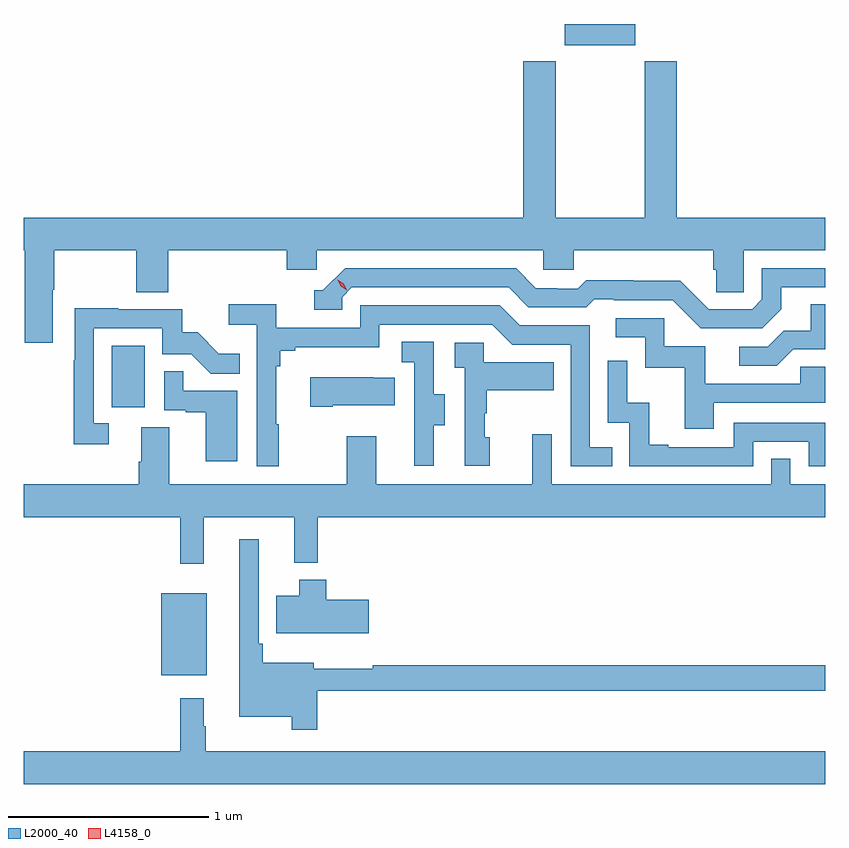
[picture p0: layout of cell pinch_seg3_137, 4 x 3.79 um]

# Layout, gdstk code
import gdstk
lib = gdstk.Library(unit=1e-6, precision=1e-09)
def R(c, l, rs):  # rectangles x0, y0, x1, y1
    for r in rs: c.add(gdstk.rectangle(r[:2], r[2:], *l))
def P(c, l, *ps):  # polygons
    for p in ps: c.add(gdstk.Polygon(p, *l))
L2000_40 = (2000, 40)
L4158_0 = (4158, 0)

pinch_seg3_137 = lib.new_cell('pinch_seg3_137')
R(pinch_seg3_137, L2000_40, [(1130.156,722.771,1130.383,723.181), (1129.91,724.11,1130.074,724.417), (1132.172,725.915,1132.522,726.022)])
P(pinch_seg3_137, L2000_40, [(1129.615,724.696),(1129.623,724.696),(1129.623,724.892),(1130.032,724.892),(1130.032,724.684),(1130.192,724.684),(1130.192,724.892),(1130.783,724.892),(1130.783,724.794),(1130.934,724.794),(1130.934,724.892),(1132.065,724.892),(1132.065,724.794),(1132.215,724.794),(1132.215,724.892),(1132.913,724.892),(1132.913,724.794),(1132.927,724.794),(1132.927,724.684),(1133.064,724.684),(1133.064,724.892),(1133.471,724.892),(1133.471,725.056),(1132.73,725.056),(1132.73,725.836),(1132.57,725.836),(1132.57,725.056),(1132.125,725.056),(1132.125,725.836),(1131.965,725.836),(1131.965,725.056),(1129.471,725.056),(1129.471,724.892),(1129.475,724.892),(1129.475,724.431),(1129.615,724.431)],
  [(1133.251,724.597),(1133.251,724.707),(1133.471,724.707),(1133.471,724.803),(1133.154,724.803),(1133.154,724.647),(1133.106,724.599),(1132.89,724.599),(1132.748,724.741),(1132.512,724.741),(1132.512,724.744),(1132.279,724.744),(1132.237,724.701),(1132.134,724.701),(1132.134,724.704),(1132.027,724.704),(1131.928,724.803),(1131.075,724.803),(1130.964,724.692),(1130.921,724.692),(1130.921,724.596),(1131.06,724.596),(1131.06,724.659),(1131.108,724.707),(1131.891,724.707),(1131.99,724.608),(1132.279,724.608),(1132.318,724.647),(1132.417,724.647),(1132.417,724.644),(1132.71,724.644),(1132.851,724.503),(1133.157,724.503)],
  [(1133.311,724.398),(1133.471,724.398),(1133.471,724.622),(1133.399,724.622),(1133.399,724.49),(1133.264,724.49),(1133.184,724.41),(1133.043,724.41),(1133.043,724.317),(1133.23,724.317)],
  [(1130.743,724.025),(1130.731,724.025),(1130.731,724.313),(1130.75,724.313),(1130.75,724.39),(1130.827,724.39),(1130.827,724.409),(1131.246,724.409),(1131.246,724.521),(1131.81,724.521),(1131.909,724.422),(1132.2,724.422),(1132.2,723.813),(1132.409,723.813),(1132.409,723.909),(1132.296,723.909),(1132.296,724.518),(1131.946,724.518),(1131.847,724.617),(1131.15,724.617),(1131.15,724.506),(1130.732,724.506),(1130.732,724.622),(1130.493,724.622),(1130.493,724.52),(1130.634,724.52),(1130.634,723.813),(1130.743,723.813)],
  [(1129.894,724.029),(1129.821,724.029),(1129.821,724.503),(1130.163,724.503),(1130.163,724.374),(1130.307,724.374),(1130.405,724.276),(1130.549,724.276),(1130.549,724.375),(1130.445,724.375),(1130.338,724.482),(1130.262,724.482),(1130.262,724.599),(1129.943,724.599),(1129.943,724.604),(1129.725,724.604),(1129.725,724.343),(1129.72,724.343),(1129.72,723.924),(1129.894,723.924)],
  [(1132.915,724.131),(1133.471,724.131),(1133.471,724.311),(1133.347,724.311),(1133.347,724.227),(1132.873,724.227),(1132.873,724.413),(1132.668,724.413),(1132.668,724.554),(1132.425,724.554),(1132.425,724.458),(1132.572,724.458),(1132.572,724.305),(1132.771,724.305),(1132.771,724.002),(1132.915,724.002)],
  [(1131.517,724.018),(1131.571,724.018),(1131.571,724.173),(1131.516,724.173),(1131.516,724.436),(1131.357,724.436),(1131.357,724.333),(1131.42,724.333),(1131.42,724.029),(1131.419,724.029),(1131.419,723.816),(1131.517,723.816)],
  [(1131.796,723.96),(1131.771,723.96),(1131.771,724.079),(1131.781,724.079),(1131.781,724.193),(1132.115,724.193),(1132.115,724.333),(1131.768,724.333),(1131.768,724.431),(1131.621,724.431),(1131.621,724.307),(1131.672,724.307),(1131.672,723.816),(1131.796,723.816)],
  [(1133.112,723.936),(1133.388,723.936),(1133.388,723.813),(1133.471,723.813),(1133.471,724.032),(1133.016,724.032),(1133.016,723.909),(1132.687,723.909),(1132.687,723.922),(1132.592,723.922),(1132.592,724.13),(1132.482,724.13),(1132.482,724.342),(1132.386,724.342),(1132.386,724.032),(1132.494,724.032),(1132.494,723.813),(1133.112,723.813)],
  [(1130.536,724.191),(1130.267,724.191),(1130.267,724.289),(1130.172,724.289),(1130.172,724.095),(1130.279,724.095),(1130.279,724.083),(1130.378,724.083),(1130.378,723.84),(1130.536,723.84)],
  [(1131.013,724.118),(1131.323,724.118),(1131.323,724.255),(1131.215,724.255),(1131.215,724.258),(1130.901,724.258),(1130.901,724.111),(1131.013,724.111)],
  [(1130.369,723.56),(1130.822,723.56),(1130.822,723.332),(1130.939,723.332),(1130.939,723.56),(1133.471,723.56),(1133.471,723.724),(1133.298,723.724),(1133.298,723.851),(1133.202,723.851),(1133.202,723.724),(1132.107,723.724),(1132.107,723.973),(1132.01,723.973),(1132.01,723.724),(1131.229,723.724),(1131.229,723.964),(1131.082,723.964),(1131.082,723.724),(1130.197,723.724),(1130.197,724.01),(1130.057,724.01),(1130.057,723.836),(1130.045,723.836),(1130.045,723.724),(1129.471,723.724),(1129.471,723.56),(1130.251,723.56),(1130.251,723.327),(1130.369,723.327)],
  [(1130.936,722.694),(1133.471,722.694),(1133.471,722.822),(1131.213,722.822),(1131.213,722.803),(1130.917,722.803),(1130.917,722.833),(1130.663,722.833),(1130.663,722.929),(1130.643,722.929),(1130.643,723.451),(1130.546,723.451),(1130.546,722.564),(1130.808,722.564),(1130.808,722.499),(1130.936,722.499)],
  [(1131.193,723.147),(1130.981,723.147),(1130.981,723.247),(1130.846,723.247),(1130.846,723.169),(1130.732,723.169),(1130.732,722.981),(1131.193,722.981)],
  [(1133.471,722.392),(1130.38,722.392),(1130.38,722.516),(1130.368,722.516),(1130.368,722.656),(1130.251,722.656),(1130.251,722.392),(1129.471,722.392),(1129.471,722.228),(1133.471,722.228)])
P(pinch_seg3_137, L4158_0, [(1131.083,724.692),(1131.053,724.712),(1131.037,724.745),(1131.037,724.745),(1131.037,724.745),(1131.068,724.725),(1131.083,724.693),(1131.083,724.692)])

lib.write_gds('pinch_seg3_137.gds')
